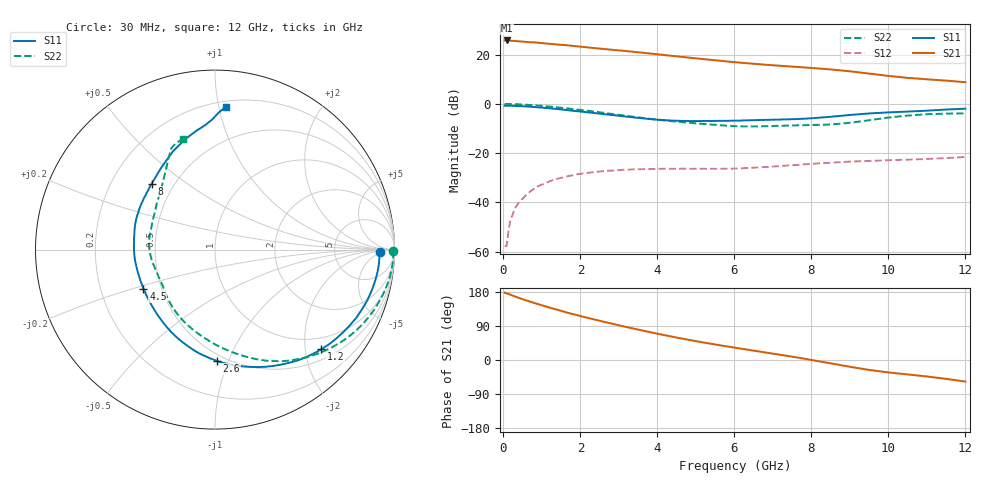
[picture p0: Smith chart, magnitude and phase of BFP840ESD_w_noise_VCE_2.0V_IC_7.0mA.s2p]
! Infineon Technologies  Discrete & RF Semiconductors
! BFP840ESD
! VCE =  2.0 V,  IC =  7.0 mA
! Common Emitter S-Parameters:  May 2012
# GHz  S  MA  R  50
!  f  S11  S21  S12  S22
! GHz  MAG  ANG  MAG  ANG  MAG  ANG  MAG  ANG
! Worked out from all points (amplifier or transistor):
!   93 points, 30 MHz to 12 GHz, reference 50 ohm
!   highest |S21| = 25.7 dB at 80 MHz (marker M1)
!   |S21| within 3 dB of that: start of sweep to 2.308 GHz
!   unconditionally stable (mu >= 1): 5.767 GHz to 9.807 GHz
!   at 1.1 GHz: K = 0.23, MSG = 28.3 dB, |S12| = -32.1 dB
!   at 4.2 GHz: K = 0.71, MSG = 23.1 dB, |S12| = -26.3 dB
!   at 12 GHz: K = 0.69, MSG = 15.2 dB, |S12| = -21.5 dB
!   lowest NFmin = 0.68 dB at 450 MHz
!   S11 on the Smith chart (normalised r, x): 30 MHz: 22, -5; 1.2 GHz: 0.72, -2.34; 2.6 GHz: 0.45, -0.91; 4.5 GHz: 0.40, -0.22; 8 GHz: 0.38, +0.37; 12 GHz: 0.24, +1.05
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0.03  0.9178 -1.0  19.27 177.7  0.0013 107.3  0.9895 -0.5
0.08  0.917 -2.9  19.28 175.9  0.0013 36.3  0.9935 -2.2
0.18  0.915 -6.8  19.04 172.3  0.0044 78.2  0.9911 -5.5
0.28  0.9101 -10.5  18.82 168.4  0.007 80.7  0.9862 -8.6
0.6  0.8841 -22.1  17.99 157.0  0.0145 73.0  0.9578 -18.1
0.8  0.8614 -29.4  17.65 150.5  0.019 68.0  0.9349 -23.8
1.2  0.8118 -43.2  16.49 138.2  0.0269 59.1  0.8796 -34.8
1.6  0.7533 -56.9  15.56 126.6  0.0331 51.1  0.8165 -45.1
2.1  0.684 -72.9  14.18 113.4  0.0391 42.0  0.7373 -57.2
2.6  0.621 -88.9  12.97 101.1  0.0432 34.4  0.6582 -68.5
3.3  0.5393 -111.7  11.52 84.6  0.0466 26.4  0.5567 -84.4
3.7  0.5004 -124.8  10.7 75.8  0.0476 22.1  0.5081 -94.0
4.1  0.4706 -138.3  9.915 67.3  0.0482 19.1  0.4679 -103.9
4.5  0.4546 -151.2  9.187 59.2  0.0484 16.6  0.4357 -113.6
5.2  0.4492 -171.3  8.067 46.1  0.0482 13.7  0.3909 -129.1
6.1  0.4571 169.5  6.899 31.1  0.049 14.0  0.3515 -148.4
7  0.4766 153.3  6.055 16.7  0.0535 13.9  0.3543 -168.4
8  0.5096 133.8  5.342 0.1  0.0608 11.0  0.3713 169.6
8.5  0.5464 123.2  4.98 -8.8  0.064 8.8  0.3806 156.5
9.5  0.6385 104.9  4.103 -26.2  0.0696 2.6  0.4651 129.2
10.5  0.697 94.3  3.363 -38.1  0.0738 -2.4  0.5776 116.4
12  0.7979 85.6  2.744 -56.9  0.0838 -8.7  0.6427 106.0
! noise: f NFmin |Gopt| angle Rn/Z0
0.45  0.68  0.39  1  0.16
0.9  0.7  0.39  5  0.15
1.5  0.71  0.38  13  0.15
1.9  0.73  0.38  17  0.14
2.4  0.74  0.33  28  0.13
3.5  0.77  0.24  56  0.11
5.5  0.86  0.16  126  0.1
8  1.02  0.31  -139  0.09
10  1.18  0.47  -97  0.16
12  1.39  0.59  -75  0.26
